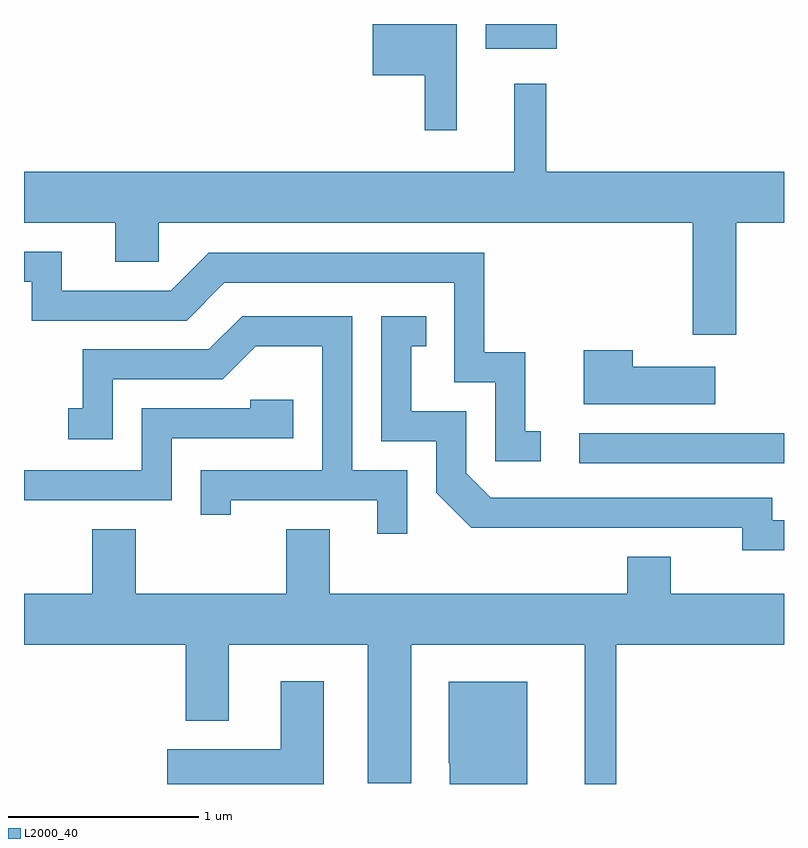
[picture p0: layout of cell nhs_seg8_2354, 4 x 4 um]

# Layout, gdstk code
import gdstk
lib = gdstk.Library(unit=1e-6, precision=1e-09)
def R(c, l, rs):  # rectangles x0, y0, x1, y1
    for r in rs: c.add(gdstk.rectangle(r[:2], r[2:], *l))
def P(c, l, *ps):  # polygons
    for p in ps: c.add(gdstk.Polygon(p, *l))
L2000_40 = (2000, 40)

nhs_seg8_2354 = lib.new_cell('nhs_seg8_2354')
R(nhs_seg8_2354, L2000_40, [(258.533,1844.031,259.611,1844.189), (258.041,1846.211,258.414,1846.342)])
P(nhs_seg8_2354, L2000_40, [(257.889,1846.342),(257.446,1846.342),(257.446,1846.071),(257.721,1846.071),(257.721,1845.783),(257.889,1845.783)],
  [(259.359,1845.296),(259.611,1845.296),(259.611,1845.564),(258.359,1845.564),(258.359,1846.028),(258.191,1846.028),(258.191,1845.564),(255.611,1845.564),(255.611,1845.296),(256.091,1845.296),(256.091,1845.091),(256.319,1845.091),(256.319,1845.296),(259.131,1845.296),(259.131,1844.706),(259.359,1844.706)],
  [(258.332,1844.199),(258.249,1844.199),(258.249,1844.614),(258.034,1844.614),(258.034,1845.139),(256.584,1845.139),(256.384,1844.939),(255.809,1844.939),(255.809,1845.144),(255.611,1845.144),(255.611,1844.986),(255.651,1844.986),(255.651,1844.781),(256.467,1844.781),(256.666,1844.981),(257.876,1844.981),(257.876,1844.456),(258.091,1844.456),(258.091,1844.041),(258.332,1844.041)],
  [(257.629,1843.994),(257.339,1843.994),(257.339,1844.804),(256.759,1844.804),(256.584,1844.629),(255.921,1844.629),(255.921,1844.319),(255.843,1844.319),(255.843,1844.156),(256.079,1844.156),(256.079,1844.471),(256.657,1844.471),(256.832,1844.646),(257.181,1844.646),(257.181,1843.994),(256.541,1843.994),(256.541,1843.758),(256.699,1843.758),(256.699,1843.836),(257.471,1843.836),(257.471,1843.658),(257.629,1843.658)],
  [(259.611,1843.729),(259.549,1843.729),(259.549,1843.849),(258.067,1843.849),(257.939,1843.977),(257.939,1844.304),(257.649,1844.304),(257.649,1844.646),(257.728,1844.646),(257.728,1844.804),(257.491,1844.804),(257.491,1844.146),(257.781,1844.146),(257.781,1843.874),(257.964,1843.691),(259.391,1843.691),(259.391,1843.571),(259.611,1843.571)],
  [(259.249,1844.539),(258.814,1844.539),(258.814,1844.624),(258.556,1844.624),(258.556,1844.341),(259.249,1844.341)],
  [(256.389,1844.161),(257.029,1844.161),(257.029,1844.364),(256.801,1844.364),(256.801,1844.319),(256.231,1844.319),(256.231,1843.994),(255.611,1843.994),(255.611,1843.836),(256.389,1843.836)],
  [(256.199,1843.684),(255.971,1843.684),(255.971,1843.344),(255.611,1843.344),(255.611,1843.076),(256.461,1843.076),(256.461,1842.676),(256.689,1842.676),(256.689,1843.076),(257.421,1843.076),(257.421,1842.346),(257.649,1842.346),(257.649,1843.076),(258.561,1843.076),(258.561,1842.342),(258.729,1842.342),(258.729,1843.076),(259.611,1843.076),(259.611,1843.344),(259.014,1843.344),(259.014,1843.539),(258.786,1843.539),(258.786,1843.344),(257.219,1843.344),(257.219,1843.684),(256.991,1843.684),(256.991,1843.344),(256.199,1843.344)],
  [(257.189,1842.884),(256.961,1842.884),(256.961,1842.524),(256.366,1842.524),(256.366,1842.342),(257.189,1842.342)],
  [(258.259,1842.879),(257.846,1842.879),(257.846,1842.45),(257.851,1842.45),(257.851,1842.342),(258.259,1842.342)])

lib.write_gds('nhs_seg8_2354.gds')
